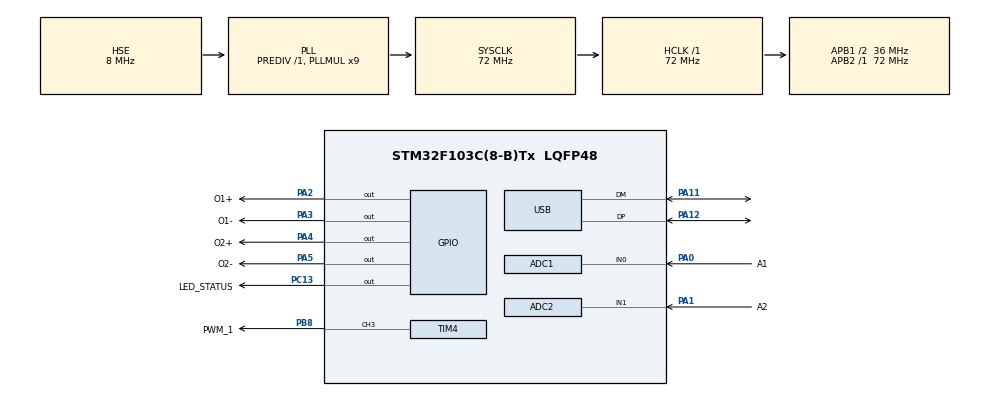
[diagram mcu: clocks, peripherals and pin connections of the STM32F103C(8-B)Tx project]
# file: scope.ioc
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ADC1.Channel-8\#ChannelRegularConversion=ADC_CHANNEL_0
ADC1.ExternalTrigConv=ADC_EXTERNALTRIGCONV_T3_TRGO
ADC1.Mode=ADC_DUALMODE_REGSIMULT
ADC1.NbrOfConversionFlag=1
ADC1.Rank-8\#ChannelRegularConversion=1
ADC1.SamplingTime-8\#ChannelRegularConversion=ADC_SAMPLETIME_1CYCLE_5
ADC1.master=1
ADC2.Channel-0\#ChannelRegularConversion=ADC_CHANNEL_1
ADC2.Mode=ADC_DUALMODE_REGSIMULT
ADC2.NbrOfConversionFlag=1
ADC2.Rank-0\#ChannelRegularConversion=1
ADC2.SamplingTime-0\#ChannelRegularConversion=ADC_SAMPLETIME_1CYCLE_5
Mcu.Family=STM32F1
Mcu.Name=STM32F103C(8-B)Tx
Mcu.Package=LQFP48
NVIC.ADC1_2_IRQn=true\:0\:0\:false\:false\:true\:true\:true\:true
NVIC.PriorityGroup=NVIC_PRIORITYGROUP_4
NVIC.TIM4_IRQn=true\:0\:0\:false\:false\:true\:true\:true\:true
NVIC.USB_LP_CAN1_RX0_IRQn=true\:0\:0\:false\:false\:true\:false\:true\:true
PA0-WKUP.GPIO_Label=A1
PA0-WKUP.Signal=ADCx_IN0
PA1.GPIO_Label=A2
PA1.Signal=ADCx_IN1
PA11.Mode=Device
PA11.Signal=USB_DM
PA12.Mode=Device
PA12.Signal=USB_DP
PA13.Mode=Serial_Wire
PA13.Signal=SYS_JTMS-SWDIO
PA14.Mode=Serial_Wire
PA14.Signal=SYS_JTCK-SWCLK
PA2.GPIO_Label=O1+
PA2.Signal=GPIO_Output
PA3.GPIO_Label=O1-
PA3.Signal=GPIO_Output
PA4.GPIO_Label=O2+
PA4.Signal=GPIO_Output
PA5.GPIO_Label=O2-
PA5.Signal=GPIO_Output
PB8.GPIO_Label=PWM_1
PB8.Signal=S_TIM4_CH3
PC13-TAMPER-RTC.GPIO_Label=LED_STATUS
PC13-TAMPER-RTC.PinState=GPIO_PIN_RESET
PC13-TAMPER-RTC.Signal=GPIO_Output
PC14-OSC32_IN.Mode=LSE-External-Oscillator
PC14-OSC32_IN.Signal=RCC_OSC32_IN
PC15-OSC32_OUT.Mode=LSE-External-Oscillator
PC15-OSC32_OUT.Signal=RCC_OSC32_OUT
PD0-OSC_IN.Mode=HSE-External-Oscillator
PD0-OSC_IN.Signal=RCC_OSC_IN
PD1-OSC_OUT.Mode=HSE-External-Oscillator
PD1-OSC_OUT.Signal=RCC_OSC_OUT
ProjectManager.HeapSize=0x200
ProjectManager.StackSize=0x400
ProjectManager.TargetToolchain=STM32CubeIDE
RCC.ADCPresc=RCC_ADCPCLK2_DIV6
RCC.AHBFreq_Value=72000000
RCC.APB1CLKDivider=RCC_HCLK_DIV2
RCC.APB1Freq_Value=36000000
RCC.APB1TimFreq_Value=72000000
RCC.APB2Freq_Value=72000000
RCC.APB2TimFreq_Value=72000000
RCC.HCLKFreq_Value=72000000
RCC.PLLMUL=RCC_PLL_MUL9
RCC.PLLSourceVirtual=RCC_PLLSOURCE_HSE
RCC.SYSCLKFreq_VALUE=72000000
RCC.SYSCLKSource=RCC_SYSCLKSOURCE_PLLCLK
RCC.USBFreq_Value=48000000
RCC.USBPrescaler=RCC_USBCLKSOURCE_PLL_DIV1_5
SH.ADCx_IN0.0=ADC1_IN0,IN0
SH.ADCx_IN1.0=ADC2_IN1,IN1
SH.S_TIM4_CH3.0=TIM4_CH3,PWM Generation3 CH3
TIM3.AutoReloadPreload=TIM_AUTORELOAD_PRELOAD_ENABLE
TIM3.Period=100
TIM3.Prescaler=71
TIM3.TIM_MasterOutputTrigger=TIM_TRGO_UPDATE
TIM4.AutoReloadPreload=TIM_AUTORELOAD_PRELOAD_ENABLE
TIM4.Channel-PWM\ Generation3\ CH3=TIM_CHANNEL_3
USB_DEVICE.CLASS_NAME_FS=CDC
USB_DEVICE.VirtualMode=Cdc
USB_DEVICE.VirtualModeFS=Cdc_FS
VP_TIM3_VS_ClockSourceINT.Mode=Internal
VP_TIM4_VS_ClockSourceINT.Mode=Internal
VP_USB_DEVICE_VS_USB_DEVICE_CDC_FS.Mode=CDC_FS
board=custom

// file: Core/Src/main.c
/* USER CODE BEGIN Header */
/**
  ******************************************************************************
  * @file           : main.c
  * @brief          : Main program body
  ******************************************************************************
  * @attention
  *
  * Copyright (c) 2022 STMicroelectronics.
  * All rights reserved.
  *
  * This software is licensed under terms that can be found in the LICENSE file
  * in the root directory of this software component.
  * If no LICENSE file comes with this software, it is provided AS-IS.
  *
  ******************************************************************************
  */
/* USER CODE END Header */
#include "main.h"
#include "usb_device.h"

/* USER CODE BEGIN Includes */
#include "usbd_cdc_if.h"
#include "util.h"
#include "local.h"
#include "strutil.h"
#include "pcomm.h"
#include "cmdparser.h"

/* USER CODE END Includes */

/* USER CODE BEGIN PM */
#define _PCOMM_RX_BUFF_SIZE 256
#define _PCOMM_TX_BUFF_SIZE 1024
#define _ADC_BUFF_SIZE 2048

/* String firmware_version */
#ifndef _FIRMWARE_VERSION_
#define _FIRMWARE_VERSION_PREFIX_ "0.0.1_build_\0"
#define _FIRMWARE_VERSION_SUFFIX_ "-alpha\0"
char firmware_version[42];
#else
const char firmware_version[] = _FIRMWARE_VERSION_;
#endif

/* USER CODE END PM */

ADC_HandleTypeDef hadc1;
ADC_HandleTypeDef hadc2;

TIM_HandleTypeDef htim3;
TIM_HandleTypeDef htim4;

/* USER CODE BEGIN PV */

/* Creación de buffers */
uint8_t __rx_bf_cdc[_PCOMM_RX_BUFF_SIZE];
uint8_t __tx_bf_cdc[_PCOMM_TX_BUFF_SIZE];
uint16_t __bf_adc_ch1[_ADC_BUFF_SIZE];
uint16_t __bf_adc_ch2[_ADC_BUFF_SIZE];

/* Estructuras de control */
_usrtick usrtick;
_hb hb;
_pcomm cdc;
_control control;

/* USER CODE END PV */

void SystemClock_Config(void);
static void MX_GPIO_Init(void);
static void MX_ADC1_Init(void);
static void MX_ADC2_Init(void);
static void MX_TIM4_Init(void);
static void MX_TIM3_Init(void);
/* USER CODE BEGIN PFP */

void cdc_receive(uint8_t *Buf, uint32_t *Len);

void tasks_1ms();
void tasks_10ms();
void tasks_100ms();
void tasks_1s();
void tasks_10s();

/* USER CODE END PFP */

/* USER CODE BEGIN 0 */

/*
 * --------------  RUTINAS DE INICIALIZACION LOCALES  ---------------------------
 */

/*
 * --------------  REDEFINICION DE MANEJO DE INTERRUPCIONES   ---------------------------
 */
/*
 * ISR ADC - Conversion complete
 */
void HAL_ADC_ConvCpltCallback(ADC_HandleTypeDef* hadc){
	if(control.bf_adc_ch1_iw < _ADC_BUFF_SIZE)
		control.bf_adc_ch1[control.bf_adc_ch1_iw++] = HAL_ADC_GetValue(&hadc1);
	if(control.bf_adc_ch2_iw < _ADC_BUFF_SIZE)
		control.bf_adc_ch2[control.bf_adc_ch2_iw++] = HAL_ADC_GetValue(&hadc2);
}

/*
 * --------------  FUNCIONES DE USUARIO  ---------------------------
 */

/*
 * Funciones pasadas por parametro
 */

/*
 * Al hearbeat
 */
void heartbeat_gpio_callback(uint8_t state){
	HAL_GPIO_WritePin(LED_STATUS_GPIO_Port, LED_STATUS_Pin, state);
}

/*
 * al modulo CDC para la carga de datos recibidos por USB CDC
 */
void cdc_receive(uint8_t *Buf, uint32_t *Len){
	pcomm_rx_receive_array(&cdc, Buf, *Len);
}

/* Setea el timer para la salida  PWM con los valores de configuracion indicados */
void pwm_set_timer_by_config(uint16_t prescaler, uint16_t compare, uint16_t autoreload){
	__HAL_TIM_SET_PRESCALER(&htim4, prescaler);
	__HAL_TIM_SET_COMPARE(&htim4, TIM_CHANNEL_3, compare);
	__HAL_TIM_SET_AUTORELOAD(&htim4, autoreload);
}

/* Setea el timer para el ADC */
void adc_set_timer_by_config(uint16_t prescaler, uint16_t autoreload){
	__HAL_TIM_SET_PRESCALER(&htim3, prescaler);
	__HAL_TIM_SET_AUTORELOAD(&htim3, autoreload);
}

/*
 * Al planificador usrtick
 */
void tasks_1ms(){
	// Envio datos disponibles en pcomm CDC
	if(pcomm_tx_data_ready(&cdc)){
		if(CDC_Transmit_FS_Status() == USBD_OK){
			CDC_Transmit_FS(cdc.tx.buff, cdc.tx.iw);
			pcomm_tx_data_flush(&cdc);
		}
	}

	// Ejecucion de comandos
	if(pcomm_rx_data_ready(&cdc)){
		cmd_exec(&cdc);
	}
}

void tasks_10ms(){}

void tasks_100ms(){
	heartbeat(&hb);
}

void tasks_1s(){}

void tasks_10s(){}

/* USER CODE END 0 */

int main(void)
{

  /* MCU Configuration--------------------------------------------------------*/

  /* Reset of all peripherals, Initializes the Flash interface and the Systick. */
  HAL_Init();

  /* Configure the system clock */
  SystemClock_Config();

  /* Initialize all configured peripherals */
  MX_GPIO_Init();
  MX_ADC1_Init();
  MX_ADC2_Init();
  MX_TIM4_Init();
  MX_USB_DEVICE_Init();
  MX_TIM3_Init();
  /* USER CODE BEGIN 2 */

  // Establezco la cadena firmware_version si no esta definida como macro o via MakeFile
  #ifndef _FIRMWARE_VERSION_
  get_firmware_version(_FIRMWARE_VERSION_PREFIX_, _FIRMWARE_VERSION_SUFFIX_, firmware_version);
  #endif

  // Inicializacion del planificador usertick
  usrtick_init(&usrtick, 1000);
  usrtick_attach(&usrtick, tasks_1ms, 1);
  usrtick_attach(&usrtick, tasks_10ms, 10);
  usrtick_attach(&usrtick, tasks_100ms, 100);
  usrtick_attach(&usrtick, tasks_1s, 1000);
  usrtick_attach(&usrtick, tasks_10s, 10000);

  // Inicializacion de heartbeat
  heartbeat_init(&hb);
  heartbeat_attach(&hb, heartbeat_gpio_callback);

  // Inicializo protocolo de comunicación
  pcomm_init(&cdc, _PCOMM_TX_MODE_BATCH, __rx_bf_cdc, _PCOMM_RX_BUFF_SIZE, __tx_bf_cdc, _PCOMM_TX_BUFF_SIZE, 100);

  // Inicializo recepcion de comandos
  cmd_init(&usrtick, &hb, &cdc, &control);

  // Inicializo control
  local_init_control(&control, __bf_adc_ch1, _ADC_BUFF_SIZE, __bf_adc_ch2, _ADC_BUFF_SIZE);

  // Establezco la funcion callback para la recepcion sobre USB CDC
  CDC_Attach_Receive_FS(cdc_receive);

  //  Inicio los Timers
  HAL_TIM_Base_Start_IT(&htim3);
  HAL_TIM_Base_Start(&htim4);
  HAL_TIM_PWM_Start(&htim4, TIM_CHANNEL_3);

  // calibrate ADC for better accuracy and start it w/ interrupt
  if(HAL_ADCEx_Calibration_Start(&hadc1) != HAL_OK)
	  Error_Handler();
  if(HAL_ADCEx_Calibration_Start(&hadc2) != HAL_OK)
  	  Error_Handler();

  if(HAL_ADC_Start_IT(&hadc1) != HAL_OK)
	  Error_Handler();

  if(HAL_ADC_Start_IT(&hadc2) != HAL_OK)
	  Error_Handler();

  /* USER CODE END 2 */

  /* Infinite loop */
  /* USER CODE BEGIN WHILE */
  while (1)
  {
	usrtick_work(&usrtick);
    /* USER CODE END WHILE */

  }
}

void SystemClock_Config(void)
{
  RCC_OscInitTypeDef RCC_OscInitStruct = {0};
  RCC_ClkInitTypeDef RCC_ClkInitStruct = {0};
  RCC_PeriphCLKInitTypeDef PeriphClkInit = {0};

  /** Initializes the RCC Oscillators according to the specified parameters
  * in the RCC_OscInitTypeDef structure.
  */
  RCC_OscInitStruct.OscillatorType = RCC_OSCILLATORTYPE_HSE;
  RCC_OscInitStruct.HSEState = RCC_HSE_ON;
  RCC_OscInitStruct.HSEPredivValue = RCC_HSE_PREDIV_DIV1;
  RCC_OscInitStruct.HSIState = RCC_HSI_ON;
  RCC_OscInitStruct.PLL.PLLState = RCC_PLL_ON;
  RCC_OscInitStruct.PLL.PLLSource = RCC_PLLSOURCE_HSE;
  RCC_OscInitStruct.PLL.PLLMUL = RCC_PLL_MUL9;
  if (HAL_RCC_OscConfig(&RCC_OscInitStruct) != HAL_OK)
  {
    Error_Handler();
  }

  /** Initializes the CPU, AHB and APB buses clocks
  */
  RCC_ClkInitStruct.ClockType = RCC_CLOCKTYPE_HCLK|RCC_CLOCKTYPE_SYSCLK
                              |RCC_CLOCKTYPE_PCLK1|RCC_CLOCKTYPE_PCLK2;
  RCC_ClkInitStruct.SYSCLKSource = RCC_SYSCLKSOURCE_PLLCLK;
  RCC_ClkInitStruct.AHBCLKDivider = RCC_SYSCLK_DIV1;
  RCC_ClkInitStruct.APB1CLKDivider = RCC_HCLK_DIV2;
  RCC_ClkInitStruct.APB2CLKDivider = RCC_HCLK_DIV1;

  if (HAL_RCC_ClockConfig(&RCC_ClkInitStruct, FLASH_LATENCY_2) != HAL_OK)
  {
    Error_Handler();
  }
  PeriphClkInit.PeriphClockSelection = RCC_PERIPHCLK_ADC|RCC_PERIPHCLK_USB;
  PeriphClkInit.AdcClockSelection = RCC_ADCPCLK2_DIV6;
  PeriphClkInit.UsbClockSelection = RCC_USBCLKSOURCE_PLL_DIV1_5;
  if (HAL_RCCEx_PeriphCLKConfig(&PeriphClkInit) != HAL_OK)
  {
    Error_Handler();
  }
}

static void MX_ADC1_Init(void)
{

  ADC_MultiModeTypeDef multimode = {0};
  ADC_ChannelConfTypeDef sConfig = {0};

  /** Common config
  */
  hadc1.Instance = ADC1;
  hadc1.Init.ScanConvMode = ADC_SCAN_DISABLE;
  hadc1.Init.ContinuousConvMode = DISABLE;
  hadc1.Init.DiscontinuousConvMode = DISABLE;
  hadc1.Init.ExternalTrigConv = ADC_EXTERNALTRIGCONV_T3_TRGO;
  hadc1.Init.DataAlign = ADC_DATAALIGN_RIGHT;
  hadc1.Init.NbrOfConversion = 1;
  if (HAL_ADC_Init(&hadc1) != HAL_OK)
  {
    Error_Handler();
  }

  /** Configure the ADC multi-mode
  */
  multimode.Mode = ADC_DUALMODE_REGSIMULT;
  if (HAL_ADCEx_MultiModeConfigChannel(&hadc1, &multimode) != HAL_OK)
  {
    Error_Handler();
  }

  /** Configure Regular Channel
  */
  sConfig.Channel = ADC_CHANNEL_0;
  sConfig.Rank = ADC_REGULAR_RANK_1;
  sConfig.SamplingTime = ADC_SAMPLETIME_1CYCLE_5;
  if (HAL_ADC_ConfigChannel(&hadc1, &sConfig) != HAL_OK)
  {
    Error_Handler();
  }

}

static void MX_ADC2_Init(void)
{

  ADC_ChannelConfTypeDef sConfig = {0};

  /** Common config
  */
  hadc2.Instance = ADC2;
  hadc2.Init.ScanConvMode = ADC_SCAN_DISABLE;
  hadc2.Init.ContinuousConvMode = DISABLE;
  hadc2.Init.DiscontinuousConvMode = DISABLE;
  hadc2.Init.ExternalTrigConv = ADC_SOFTWARE_START;
  hadc2.Init.DataAlign = ADC_DATAALIGN_RIGHT;
  hadc2.Init.NbrOfConversion = 1;
  if (HAL_ADC_Init(&hadc2) != HAL_OK)
  {
    Error_Handler();
  }

  /** Configure Regular Channel
  */
  sConfig.Channel = ADC_CHANNEL_1;
  sConfig.Rank = ADC_REGULAR_RANK_1;
  sConfig.SamplingTime = ADC_SAMPLETIME_1CYCLE_5;
  if (HAL_ADC_ConfigChannel(&hadc2, &sConfig) != HAL_OK)
  {
    Error_Handler();
  }

}

static void MX_TIM3_Init(void)
{

  TIM_ClockConfigTypeDef sClockSourceConfig = {0};
  TIM_MasterConfigTypeDef sMasterConfig = {0};

  htim3.Instance = TIM3;
  htim3.Init.Prescaler = 71;
  htim3.Init.CounterMode = TIM_COUNTERMODE_UP;
  htim3.Init.Period = 100;
  htim3.Init.ClockDivision = TIM_CLOCKDIVISION_DIV1;
  htim3.Init.AutoReloadPreload = TIM_AUTORELOAD_PRELOAD_ENABLE;
  if (HAL_TIM_Base_Init(&htim3) != HAL_OK)
  {
    Error_Handler();
  }
  sClockSourceConfig.ClockSource = TIM_CLOCKSOURCE_INTERNAL;
  if (HAL_TIM_ConfigClockSource(&htim3, &sClockSourceConfig) != HAL_OK)
  {
    Error_Handler();
  }
  sMasterConfig.MasterOutputTrigger = TIM_TRGO_UPDATE;
  sMasterConfig.MasterSlaveMode = TIM_MASTERSLAVEMODE_DISABLE;
  if (HAL_TIMEx_MasterConfigSynchronization(&htim3, &sMasterConfig) != HAL_OK)
  {
    Error_Handler();
  }

}

static void MX_TIM4_Init(void)
{

  TIM_ClockConfigTypeDef sClockSourceConfig = {0};
  TIM_MasterConfigTypeDef sMasterConfig = {0};
  TIM_OC_InitTypeDef sConfigOC = {0};

  htim4.Instance = TIM4;
  htim4.Init.Prescaler = 0;
  htim4.Init.CounterMode = TIM_COUNTERMODE_UP;
  htim4.Init.Period = 65535;
  htim4.Init.ClockDivision = TIM_CLOCKDIVISION_DIV1;
  htim4.Init.AutoReloadPreload = TIM_AUTORELOAD_PRELOAD_ENABLE;
  if (HAL_TIM_Base_Init(&htim4) != HAL_OK)
  {
    Error_Handler();
  }
  sClockSourceConfig.ClockSource = TIM_CLOCKSOURCE_INTERNAL;
  if (HAL_TIM_ConfigClockSource(&htim4, &sClockSourceConfig) != HAL_OK)
  {
    Error_Handler();
  }
  if (HAL_TIM_PWM_Init(&htim4) != HAL_OK)
  {
    Error_Handler();
  }
  sMasterConfig.MasterOutputTrigger = TIM_TRGO_RESET;
  sMasterConfig.MasterSlaveMode = TIM_MASTERSLAVEMODE_DISABLE;
  if (HAL_TIMEx_MasterConfigSynchronization(&htim4, &sMasterConfig) != HAL_OK)
  {
    Error_Handler();
  }
  sConfigOC.OCMode = TIM_OCMODE_PWM1;
  sConfigOC.Pulse = 0;
  sConfigOC.OCPolarity = TIM_OCPOLARITY_HIGH;
  sConfigOC.OCFastMode = TIM_OCFAST_DISABLE;
  if (HAL_TIM_PWM_ConfigChannel(&htim4, &sConfigOC, TIM_CHANNEL_3) != HAL_OK)
  {
    Error_Handler();
  }
  HAL_TIM_MspPostInit(&htim4);

}

static void MX_GPIO_Init(void)
{
  GPIO_InitTypeDef GPIO_InitStruct = {0};

  /* GPIO Ports Clock Enable */
  __HAL_RCC_GPIOC_CLK_ENABLE();
  __HAL_RCC_GPIOD_CLK_ENABLE();
  __HAL_RCC_GPIOA_CLK_ENABLE();
  __HAL_RCC_GPIOB_CLK_ENABLE();

  /*Configure GPIO pin Output Level */
  HAL_GPIO_WritePin(LED_STATUS_GPIO_Port, LED_STATUS_Pin, GPIO_PIN_RESET);

  /*Configure GPIO pin Output Level */
  HAL_GPIO_WritePin(GPIOA, O1__Pin|O1_A3_Pin|O2__Pin|O2_A5_Pin, GPIO_PIN_RESET);

  /*Configure GPIO pin : LED_STATUS_Pin */
  GPIO_InitStruct.Pin = LED_STATUS_Pin;
  GPIO_InitStruct.Mode = GPIO_MODE_OUTPUT_PP;
  GPIO_InitStruct.Pull = GPIO_NOPULL;
  GPIO_InitStruct.Speed = GPIO_SPEED_FREQ_LOW;
  HAL_GPIO_Init(LED_STATUS_GPIO_Port, &GPIO_InitStruct);

  /*Configure GPIO pins : O1__Pin O1_A3_Pin O2__Pin O2_A5_Pin */
  GPIO_InitStruct.Pin = O1__Pin|O1_A3_Pin|O2__Pin|O2_A5_Pin;
  GPIO_InitStruct.Mode = GPIO_MODE_OUTPUT_PP;
  GPIO_InitStruct.Pull = GPIO_NOPULL;
  GPIO_InitStruct.Speed = GPIO_SPEED_FREQ_LOW;
  HAL_GPIO_Init(GPIOA, &GPIO_InitStruct);

}

void Error_Handler(void)
{
  __disable_irq();
  while (1)
  {
  }
}
